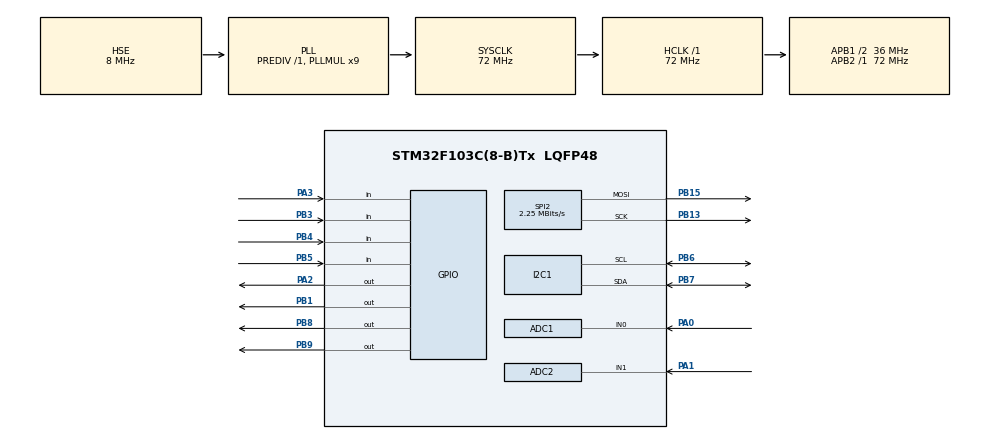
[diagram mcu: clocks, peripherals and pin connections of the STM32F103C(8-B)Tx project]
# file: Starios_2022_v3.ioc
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ADC1.Channel-0\#ChannelRegularConversion=ADC_CHANNEL_0
ADC1.ContinuousConvMode=ENABLE
ADC1.NbrOfConversionFlag=1
ADC1.Rank-0\#ChannelRegularConversion=1
ADC1.SamplingTime-0\#ChannelRegularConversion=ADC_SAMPLETIME_1CYCLE_5
ADC1.master=1
ADC2.Channel-0\#ChannelRegularConversion=ADC_CHANNEL_1
ADC2.ContinuousConvMode=ENABLE
ADC2.NbrOfConversionFlag=1
ADC2.Rank-0\#ChannelRegularConversion=1
ADC2.SamplingTime-0\#ChannelRegularConversion=ADC_SAMPLETIME_1CYCLE_5
Dma.I2C1_TX.0.Direction=DMA_MEMORY_TO_PERIPH
Dma.I2C1_TX.0.Instance=DMA1_Channel6
Dma.I2C1_TX.0.MemDataAlignment=DMA_MDATAALIGN_BYTE
Dma.I2C1_TX.0.MemInc=DMA_MINC_ENABLE
Dma.I2C1_TX.0.Mode=DMA_NORMAL
Dma.I2C1_TX.0.PeriphDataAlignment=DMA_PDATAALIGN_BYTE
Dma.I2C1_TX.0.PeriphInc=DMA_PINC_DISABLE
Dma.I2C1_TX.0.Priority=DMA_PRIORITY_LOW
Dma.Request0=I2C1_TX
Dma.Request1=SPI2_TX
Dma.SPI2_TX.1.Direction=DMA_MEMORY_TO_PERIPH
Dma.SPI2_TX.1.Instance=DMA1_Channel5
Dma.SPI2_TX.1.MemDataAlignment=DMA_MDATAALIGN_BYTE
Dma.SPI2_TX.1.MemInc=DMA_MINC_ENABLE
Dma.SPI2_TX.1.Mode=DMA_NORMAL
Dma.SPI2_TX.1.PeriphDataAlignment=DMA_PDATAALIGN_BYTE
Dma.SPI2_TX.1.PeriphInc=DMA_PINC_DISABLE
Dma.SPI2_TX.1.Priority=DMA_PRIORITY_LOW
I2C1.I2C_Mode=I2C_Fast
Mcu.Family=STM32F1
Mcu.Name=STM32F103C(8-B)Tx
Mcu.Package=LQFP48
NVIC.DMA1_Channel5_IRQn=true\:0\:0\:false\:false\:true\:false\:true\:true
NVIC.DMA1_Channel6_IRQn=true\:0\:0\:false\:false\:true\:false\:true\:true
NVIC.I2C1_EV_IRQn=true\:0\:0\:false\:false\:true\:true\:true\:true
NVIC.PriorityGroup=NVIC_PRIORITYGROUP_4
NVIC.TIM3_IRQn=true\:2\:0\:true\:false\:true\:true\:true\:true
PA0-WKUP.Signal=ADCx_IN0
PA1.Signal=ADCx_IN1
PA13.Mode=Serial_Wire
PA13.Signal=SYS_JTMS-SWDIO
PA14.Mode=Serial_Wire
PA14.Signal=SYS_JTCK-SWCLK
PA2.Signal=GPIO_Output
PA3.Signal=GPIO_Input
PB1.PinState=GPIO_PIN_SET
PB1.Signal=GPIO_Output
PB13.Mode=TX_Only_Simplex_Unidirect_Master
PB13.Signal=SPI2_SCK
PB15.Mode=TX_Only_Simplex_Unidirect_Master
PB15.Signal=SPI2_MOSI
PB3.Signal=GPIO_Input
PB4.Signal=GPIO_Input
PB5.GPIO_PuPd=GPIO_PULLUP
PB5.Signal=GPIO_Input
PB6.Mode=I2C
PB6.Signal=I2C1_SCL
PB7.Mode=I2C
PB7.Signal=I2C1_SDA
PB8.GPIO_PuPd=GPIO_PULLDOWN
PB8.Signal=GPIO_Output
PB9.Signal=GPIO_Output
PD0-OSC_IN.Mode=HSE-External-Oscillator
PD0-OSC_IN.Signal=RCC_OSC_IN
PD1-OSC_OUT.Mode=HSE-External-Oscillator
PD1-OSC_OUT.Signal=RCC_OSC_OUT
ProjectManager.HeapSize=0x200
ProjectManager.StackSize=0x400
ProjectManager.TargetToolchain=STM32CubeIDE
RCC.ADCPresc=RCC_ADCPCLK2_DIV6
RCC.AHBFreq_Value=72000000
RCC.APB1CLKDivider=RCC_HCLK_DIV2
RCC.APB1Freq_Value=36000000
RCC.APB1TimFreq_Value=72000000
RCC.APB2Freq_Value=72000000
RCC.APB2TimFreq_Value=72000000
RCC.HCLKFreq_Value=72000000
RCC.PLLMUL=RCC_PLL_MUL9
RCC.PLLSourceVirtual=RCC_PLLSOURCE_HSE
RCC.SYSCLKFreq_VALUE=72000000
RCC.SYSCLKSource=RCC_SYSCLKSOURCE_PLLCLK
RCC.USBFreq_Value=48000000
RCC.USBPrescaler=RCC_USBCLKSOURCE_PLL_DIV1_5
SH.ADCx_IN0.0=ADC1_IN0,IN0
SH.ADCx_IN1.0=ADC2_IN1,IN1
SPI2.BaudRatePrescaler=SPI_BAUDRATEPRESCALER_16
SPI2.CLKPhase=SPI_PHASE_2EDGE
SPI2.CalculateBaudRate=2.25 MBits/s
SPI2.Direction=SPI_DIRECTION_2LINES
SPI2.Mode=SPI_MODE_MASTER
SPI2.VirtualType=VM_MASTER
TIM3.Period=1799
VP_TIM3_VS_ClockSourceINT.Mode=Internal
board=custom

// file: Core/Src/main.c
/* USER CODE BEGIN Header */
/**
  ******************************************************************************
  * @file           : main.c
  * @brief          : Main program body
  * 12AUG2022		Matthew Zemlick
  ******************************************************************************
  * @attention
  *
  * Copyright (c) 2022 STMicroelectronics.
  * All rights reserved.
  *
  * This software is licensed under terms that can be found in the LICENSE file
  * in the root directory of this software component.
  * If no LICENSE file comes with this software, it is provided AS-IS.
  *
  ******************************************************************************
  */
/* USER CODE END Header */
#include "main.h"
#include "adc.h"
#include "dma.h"
#include "i2c.h"
#include "spi.h"
#include "tim.h"
#include "gpio.h"

/* USER CODE BEGIN Includes */
#include "stdlib.h"
#include "string.h"
#include "math.h"

#include "bittable.h"
#include "Chartable.h"
#include "matrixLayout.h"

#include "ssd1306.h"
#include "fonts.h"
#include "bitmap.h"
//#include "eeprom.h"

//#include "usbd_cdc_if.h" //USB virtual Com Port
//sprintf("int x= %d",x);
//CDC_Transmit_FS((uint8_t*)USBbuffer, (uint16_t)strlen(USBbuffer));

/* USER CODE END Includes */

/* USER CODE BEGIN PD */
#define NUMLEDS 168 //number of leds 128 or 168 or 121 (168 has dummy columns)
#define EXPANDFACTOR 9 // 3 bytes to SPI for 1 byte of color. green or red or blue
#define SPILOWTIME 30 //(30 for rgb3535) this is calculated on spi clock speed. it needs to be 50us of spi 0 bytes
#define BMAX 11*4//11
#define BMED 6*4//6
#define BMIN 2*4

#define numCols 21
#define numRows 8
//#define RAND_MAX 32767

#define SIMULATE 0

//Leds are G,R,B
#define BLACK 0x000000
#define GREEN 0x0A0000
#define RED 0x000A00
#define BLUE 0x00000A

#define SAMPLE_FREQ 40000//must match TIM3 Freq
#define N	64 //64
#define PI	3.14159265
#define FFT_LIB_REV 0x14
#define FFT_FORWARD 0x01
#define FFT_REVERSE 0x00
#define FFT_WIN_TYP_RECTANGLE 0x00 /* rectangle (Box car) */
#define FFT_WIN_TYP_HAMMING 0x01 /* hamming */
#define FFT_WIN_TYP_HANN 0x02 /* hann */
#define FFT_WIN_TYP_TRIANGLE 0x03 /* triangle (Bartlett) */
#define FFT_WIN_TYP_NUTTALL 0x04 /* nuttall */
#define FFT_WIN_TYP_BLACKMAN 0x05 /* blackman */
#define FFT_WIN_TYP_BLACKMAN_NUTTALL 0x06 /* blackman nuttall */
#define FFT_WIN_TYP_BLACKMAN_HARRIS 0x07 /* blackman harris*/
#define FFT_WIN_TYP_FLT_TOP 0x08 /* flat top */
#define FFT_WIN_TYP_WELCH 0x09 /* welch */
#define twoPi 6.28318531
#define fourPi 12.56637061
#define sixPi 18.84955593

//magic numbers for audio stuff
#define CAL_OFFSET 70 //this may want to be found and stored during a Cal phase. (its the ADC offset for any error on the 1.65V op-amp biasing)
#define HOFFSET_SCALER 4 //this means max and min will at minimum be 2*HOFFSET_SCALER apart
#define USEDBINS 16
#define SENSERATE_H 300
#define SENSERATE_L 100
/* USER CODE END PD */

void SystemClock_Config(void);
/* USER CODE BEGIN PFP */
  void setPixelColor(int,uint32_t);
  uint32_t getPixelColor(int);
  void show(void);
  void getrand(int);
  long map(long, long, long, long, long);
  int32_t constrain(int32_t,int32_t,int32_t);
  void HorizShiftR(void);
  void HorizShiftL(void);
  void rotateCCW(uint32_t);
  void sine1 (uint32_t);
  void nBalls (void);
  void nGrid (void);
  void splash(void);
  uint32_t Color(uint8_t,uint8_t,uint8_t);
  void BlankScreen(uint32_t);
  void printCharWithShiftL(char, int);
  void printStringWithShiftL(char*, int);
  int randomNum(int, int);

  void getMAG();
  void graphMAG(void);
  int16_t read_adc (void);
  uint16_t read_bat_adc(void);
  void ComputeFFT(double* , double* , uint16_t , uint8_t , uint8_t);
  void ComplexToMagnitude(double* , double* , uint16_t);
  uint8_t Exponent(uint16_t);
  void Swap(double* , double*);
  void Windowing(double* , uint16_t , uint8_t , uint8_t);
  double sq(double);

  void adjustVals(void);//dumb name
  uint16_t audioMap(int32_t x, int32_t in_min, int32_t in_max, int32_t out_min, int32_t out_max);

  int checkbuttons(void);
  int checkUSBConnected(void);
  void USBdataEnable(int);
/* USER CODE END PFP */

/* USER CODE BEGIN 0 */
  uint8_t myData[(NUMLEDS*EXPANDFACTOR)+SPILOWTIME]; //holds all the expanded Pixel Color data + the 50uS of zero time (WS2812 reset)
  uint32_t Forecolor = 0x000800;
  uint8_t Brange = BMIN; //1,6,11  //set the brightness for each chanel in getrand();
  uint8_t green, red, blue; //used in getrand
  uint8_t mbuffer[3];   //used for scroll text

  uint32_t ArrayBuffer[8] = {0, 0, 0, 0, 0, 0, 0, 0}; //this can be local?
  int randSelect = 0;
  int cycles = 10;
  uint32_t waittime = 200;
  char myString[] = "H3llo "; //used to test USB virutal COM Port Transmit

  int n_count = 0; //indexes hgihwater count
  uint8_t n_done = 0; //flag to perform fft operations
  double REX[N]; //holds Real input and Realoutput (overwritten when windowing/computeFFT is performed
  double IMX[N]; //hold imaginary output
  double MAG[USEDBINS];//magnitude of a+bi vector
  double MAGmax[USEDBINS];
  double MAGmin[USEDBINS];
  double MAGavg[USEDBINS]; //used in SIMULATE
  #define F_WIDTH 8 //number of samples. bigger = smoother but more delay
  #define F_WIDTHF 8.0f //must match above define
  double MAGbuff[USEDBINS][F_WIDTH];
  double MAGbuffSum[F_WIDTH];
  uint8_t fCount = 0; //LowPass Filter Summing indexer

  //for displaying
  int32_t MAGI[USEDBINS];//magnitude of a+bi vector used for displaying
  int32_t MAGImin[USEDBINS];//magnitude of a+bi vector used for displaying
  int32_t MAGImax[USEDBINS];//magnitude of a+bi vector used for displaying

  //N= 256, SAMPLE RATE = 30kHz
  //#define FFT_RAW_MAX 150000.0 // this is found expirementally using the SIMULATE 1 and the max ADC value possible

  //N=64, SAMPLE RATE = 20kHz
  #define FFT_RAW_MAX 37000.0 // this is found expirementally using the SIMULATE 1 and the max ADC value possible
  double fft_Db_MAX = -20.0*log10(1.0/FFT_RAW_MAX);// = 103.52182518111363

  //const int tones[6] = {1, 1, 2, 2, 1 ,2}; //these are like pitches
  //const int tonedelay[6]={1,1,1,1,1,1}; //these are duration delays

  uint16_t batteryLevel = 0;
  volatile uint8_t updateFlag = 0;
  uint32_t senseCounterH = 0;
  uint32_t senseCounterL = 0;

  //EEPROM stuff
  /* Virtual address defined by the user: 0xFFFF value is prohibited */
  //uint16_t VirtAddVarTab[NB_OF_VAR] = {0x5555, 0x6666, 0x7777};
  //uint16_t VarDataTab[NB_OF_VAR] = {0, 0, 0};
  //uint16_t VarValue = 0;
  #if SIMULATE
  double signalFrequency = 1; //FFT testing using simulated sinwave
  #endif

  //PB1 CLK / (Prescaler*Count) = Freq
  //72E6/((P+1)*(COUNT+1)) = ISR rateHz
  void HAL_TIM_PeriodElapsedCallback(TIM_HandleTypeDef *htim){
  	updateFlag=1;
  }
/* USER CODE END 0 */

int main(void)
{

  /* MCU Configuration--------------------------------------------------------*/

  /* Reset of all peripherals, Initializes the Flash interface and the Systick. */
  HAL_Init();

  /* Configure the system clock */
  SystemClock_Config();

  /* Initialize all configured peripherals */
  MX_GPIO_Init();
  MX_DMA_Init();
  MX_ADC1_Init();
  MX_ADC2_Init();
  MX_I2C1_Init();
  MX_SPI2_Init();
  MX_TIM3_Init();
  /* USER CODE BEGIN 2 */
  //SETUP
      //Power INIT
    HAL_Delay(500); //wait .5 sec before power on. prevents false positives
    HAL_GPIO_WritePin(GPIOB,GPIO_PIN_8, GPIO_PIN_SET);//SoftPower ON
    //HAL_GPIO_WritePin(GPIOB,GPIO_PIN_8, GPIO_PIN_RESET);//SoftPower OFF

    //REQUIRED to set all the end frame bytes to zero (50uS ws2812 reset)
    //use memset() below
    for (int x=(NUMLEDS*EXPANDFACTOR); x<(NUMLEDS*EXPANDFACTOR)+SPILOWTIME; x++) myData[x] = 0; //ToDo: replace with memset(). why not start at 0?
    for (int i=0; i<USEDBINS; i++){ //zeroing out a bunch of arrays
  #if SIMULATE
  	  MAGmax[i] = 0;
  	  MAGmin[i] = 32000;
  #else
  	  //MAGmax[i] = (int32_t)((fft_Db_MAX/2)+HOFFSET_SCALER);
  	  //MAGmin[i] = (int32_t)((fft_Db_MAX/2)-HOFFSET_SCALER);
  	  MAGmax[i] = 32.f; //think these should be played with. wait a few mins of SILENCE and breakpoint try 30.0f
  	  MAGmin[i] = 0.0f; //try 15.0f
  #endif
  	  MAGavg[i] = 0.f;
  	  for(int k=0; k< F_WIDTH; k++) MAGbuff[i][k] = 0.0f;
  	  MAGbuffSum[i] = 0;
    }

  //Oled Init and Boot
  while(!SSD1306_Init());  // initialize. blocking if OLED not detected
  SSD1306_DrawBitmap(0,0,Boot, 128, 32, 1); //boot splash screen
  SSD1306_UpdateScreen(); //display
  HAL_Delay(1000);
  SSD1306_Clear(); //clear oled display buffer
  SSD1306_UpdateScreen();

  HAL_ADC_Start(&hadc1); //starts the adc configured in continuous mode (cubeMX)
  HAL_ADC_Start(&hadc2); //start adc2 in continuous mode
  HAL_TIM_Base_Start_IT(&htim3); //start Timer 3. used for FFT sampling
  //HAL_Delay (500);

  //printStringWithShiftL(" STARIOS GEAR 2020   ", 10); //Send Lscrolling Text (send car array)
  BlankScreen(BLACK);
  /* USER CODE END 2 */

  /* Infinite loop */
  while (1)
  {

    /* USER CODE BEGIN 3 */

		if(updateFlag==1){ //30kHz Timer
			updateFlag = 0;
			if (!n_done){ //I need N ADC Samples
	#if SIMULATE
			//FFT testing using simulated sinwave
			const double samplingFrequency = SAMPLE_FREQ;
			const double amplitude = 4095; //4095 would be
			double cycles = (((N-1) * signalFrequency) / samplingFrequency); //Number of signal cycles that the sampling will read
			REX[n_count] = ((amplitude * (sin((n_count * (twoPi * cycles)) / N))) / 2.0);/* Build data with positive and negative values*/
			IMX[n_count] = 0;
			//FFT testing using simulated sinwave
	#else
				REX[n_count] = (double) read_adc() - 2048 + CAL_OFFSET;//12bit ADC (just store this into the REX[i] array. no need to have the adc_value variable
				IMX[n_count] = 0;
				#endif
				n_count++;
				if (n_count >= N){
	#if SIMULATE
				  signalFrequency+=40;//FFT testing using simulated sinwave
				  if(signalFrequency>SAMPLE_FREQ/2) signalFrequency = 1; //FFT testing using simulated sinwave
	#endif
				n_done = 1;
				n_count = 0;
			  }
			}
	    }
		if(n_done==1){
			memset(IMX,0,N*sizeof(double)); //zero out complex part before FFT
			Windowing(REX, N, FFT_WIN_TYP_HANN, FFT_FORWARD);		//HANN	//Apply Window the the ADC data
			ComputeFFT(REX, IMX, N, Exponent(N),FFT_FORWARD); 	//perform the exponent in setup to optimize
			getMAG(); // compute the magnitude of 16 FFT samples
			adjustVals(); //autoscaling. max sensing
			graphMAG(); //graph the complex magnitudes on the oled and RGB Display
			n_done = 0;
		}
  }
  /* USER CODE END 3 */
}

void SystemClock_Config(void)
{
  RCC_OscInitTypeDef RCC_OscInitStruct = {0};
  RCC_ClkInitTypeDef RCC_ClkInitStruct = {0};
  RCC_PeriphCLKInitTypeDef PeriphClkInit = {0};

  /** Initializes the RCC Oscillators according to the specified parameters
  * in the RCC_OscInitTypeDef structure.
  */
  RCC_OscInitStruct.OscillatorType = RCC_OSCILLATORTYPE_HSE;
  RCC_OscInitStruct.HSEState = RCC_HSE_ON;
  RCC_OscInitStruct.HSEPredivValue = RCC_HSE_PREDIV_DIV1;
  RCC_OscInitStruct.HSIState = RCC_HSI_ON;
  RCC_OscInitStruct.PLL.PLLState = RCC_PLL_ON;
  RCC_OscInitStruct.PLL.PLLSource = RCC_PLLSOURCE_HSE;
  RCC_OscInitStruct.PLL.PLLMUL = RCC_PLL_MUL9;
  if (HAL_RCC_OscConfig(&RCC_OscInitStruct) != HAL_OK)
  {
    Error_Handler();
  }

  /** Initializes the CPU, AHB and APB buses clocks
  */
  RCC_ClkInitStruct.ClockType = RCC_CLOCKTYPE_HCLK|RCC_CLOCKTYPE_SYSCLK
                              |RCC_CLOCKTYPE_PCLK1|RCC_CLOCKTYPE_PCLK2;
  RCC_ClkInitStruct.SYSCLKSource = RCC_SYSCLKSOURCE_PLLCLK;
  RCC_ClkInitStruct.AHBCLKDivider = RCC_SYSCLK_DIV1;
  RCC_ClkInitStruct.APB1CLKDivider = RCC_HCLK_DIV2;
  RCC_ClkInitStruct.APB2CLKDivider = RCC_HCLK_DIV1;

  if (HAL_RCC_ClockConfig(&RCC_ClkInitStruct, FLASH_LATENCY_2) != HAL_OK)
  {
    Error_Handler();
  }
  PeriphClkInit.PeriphClockSelection = RCC_PERIPHCLK_ADC;
  PeriphClkInit.AdcClockSelection = RCC_ADCPCLK2_DIV6;
  if (HAL_RCCEx_PeriphCLKConfig(&PeriphClkInit) != HAL_OK)
  {
    Error_Handler();
  }
}

/* USER CODE BEGIN 4 */
int checkbuttons(void){ // BTN3 = PB5 needs internal Pullups enabled
	int c = 0;
	c |= HAL_GPIO_ReadPin(GPIOB,GPIO_PIN_5)<<2 | HAL_GPIO_ReadPin(GPIOB,GPIO_PIN_4)<<1 | HAL_GPIO_ReadPin(GPIOB,GPIO_PIN_3);
	return c;
}

int checkUSBConnected(void){ // Check for USB is plugged in to power
	int c = 0;
	c=HAL_GPIO_ReadPin(GPIOA,GPIO_PIN_3);
	return c;
}

void USBdataEnable(int c){ //this function will enable USB serial device if VBUS is connected
	if(c){
	HAL_GPIO_WritePin(GPIOB,GPIO_PIN_9, GPIO_PIN_SET);//pull USB Data+ (DP) High
	}else{
		HAL_GPIO_WritePin(GPIOB,GPIO_PIN_9, GPIO_PIN_RESET);//pull USB Data+ (DP) LOW
	}
}

////////////////////////////////////////////////////////////////////////////////START FFt Lib functions
void ComputeFFT(double *vReal, double *vImag, uint16_t samples, uint8_t power, uint8_t dir)
{	// Computes in-place complex-to-complex FFT
	// Reverse bits
	uint16_t j = 0;
	for (uint16_t i = 0; i < (samples - 1); i++) {
		if (i < j) {
			Swap(&vReal[i], &vReal[j]);
			if(dir==FFT_REVERSE)
				Swap(&vImag[i], &vImag[j]);
		}
		uint16_t k = (samples >> 1);
		while (k <= j) {
			j -= k;
			k >>= 1;
		}
		j += k;
	}
	// Compute the FFT
	double c1 = -1.0;
	double c2 = 0.0;
	uint16_t l2 = 1;
	for (uint8_t l = 0; (l < power); l++) {
		uint16_t l1 = l2;
		l2 <<= 1;
		double u1 = 1.0;
		double u2 = 0.0;
		for (j = 0; j < l1; j++) {
			 for (uint16_t i = j; i < samples; i += l2) {
					uint16_t i1 = i + l1;
					double t1 = u1 * vReal[i1] - u2 * vImag[i1];
					double t2 = u1 * vImag[i1] + u2 * vReal[i1];
					vReal[i1] = vReal[i] - t1;
					vImag[i1] = vImag[i] - t2;
					vReal[i] += t1;
					vImag[i] += t2;
			 }
			 double z = ((u1 * c1) - (u2 * c2));
			 u2 = ((u1 * c2) + (u2 * c1));
			 u1 = z;
		}
		c2 = sqrt((1.0 - c1) / 2.0);
		if (dir == FFT_FORWARD) {
			c2 = -c2;
		}
		c1 = sqrt((1.0 + c1) / 2.0);
	}
	// Scaling for reverse transform
	if (dir != FFT_FORWARD) {
		for (uint16_t i = 0; i < samples; i++) {
			 vReal[i] /= samples;
			 vImag[i] /= samples;
		}
	}
}

//not used
void ComplexToMagnitude(double *vReal, double *vImag, uint16_t samples){	// vM is half the size of vReal and vImag
	for (uint16_t i = 0; i < samples; i++) {
		vReal[i] = sqrt(sq(vReal[i]) + sq(vImag[i]));
	}
}

uint8_t Exponent(uint16_t value){
	// Calculates the base 2 logarithm of a value
	uint8_t result = 0;
	while (((value >> result) & 1) != 1) result++;
	return(result);
}

void Swap(double *x, double *y){
	double temp = *x;
	*x = *y;
	*y = temp;
}

//commented on unused Windowing types so save flash space
void Windowing(double *vData, uint16_t samples, uint8_t windowType, uint8_t dir)
{// Weighing factors are computed once before multiple use of FFT
// The weighing function is symetric; half the weighs are recorded
	double samplesMinusOne = (double)(samples - 1.0);
	for (uint16_t i = 0; i < (samples >> 1); i++) {
		double indexMinusOne = (double) i;
		double ratio = (indexMinusOne / samplesMinusOne);
		double weighingFactor = 1.0;
		// Compute and record weighting factor
		switch (windowType) {
//		case FFT_WIN_TYP_RECTANGLE: // rectangle (box car)
//			weighingFactor = 1.0;
//			break;
		case FFT_WIN_TYP_HAMMING: // hamming
			weighingFactor = 0.54 - (0.46 * cos(twoPi * ratio));
			break;
		case FFT_WIN_TYP_HANN: // hann
			//weighingFactor = 0.54 * (1.0 - cos(twoPi * ratio));
			weighingFactor = 0.54 * (1.0 - cos(twoPi * ratio));
			break;
//		case FFT_WIN_TYP_TRIANGLE: // triangle (Bartlett)
//			weighingFactor = 1.0 - ((2.0 * abs(indexMinusOne - (samplesMinusOne / 2.0))) / samplesMinusOne);
//			break;
//		case FFT_WIN_TYP_NUTTALL: // nuttall
//			weighingFactor = 0.355768 - (0.487396 * (cos(twoPi * ratio))) + (0.144232 * (cos(fourPi * ratio))) - (0.012604 * (cos(sixPi * ratio)));
//			break;
//		case FFT_WIN_TYP_BLACKMAN: // blackman
//			weighingFactor = 0.42323 - (0.49755 * (cos(twoPi * ratio))) + (0.07922 * (cos(fourPi * ratio)));
//			break;
//		case FFT_WIN_TYP_BLACKMAN_NUTTALL: // blackman nuttall
//			weighingFactor = 0.3635819 - (0.4891775 * (cos(twoPi * ratio))) + (0.1365995 * (cos(fourPi * ratio))) - (0.0106411 * (cos(sixPi * ratio)));
//			break;
//		case FFT_WIN_TYP_BLACKMAN_HARRIS: // blackman harris
//			weighingFactor = 0.35875 - (0.48829 * (cos(twoPi * ratio))) + (0.14128 * (cos(fourPi * ratio))) - (0.01168 * (cos(sixPi * ratio)));
//			break;
//		case FFT_WIN_TYP_FLT_TOP: // flat top
//			weighingFactor = 0.2810639 - (0.5208972 * cos(twoPi * ratio)) + (0.1980399 * cos(fourPi * ratio));
//			break;
//		case FFT_WIN_TYP_WELCH: // welch
//			weighingFactor = 1.0 - sq((indexMinusOne - samplesMinusOne / 2.0) / (samplesMinusOne / 2.0));
//			break;
		}
		if (dir == FFT_FORWARD) {
			vData[i] *= weighingFactor;
			vData[samples - (i + 1)] *= weighingFactor;
		}
		else {
			vData[i] /= weighingFactor;
			vData[samples - (i + 1)] /= weighingFactor;
		}
	}
}

double sq(double x){ //math squaring function
return 	x*x;
}

//added an offset of 1.68V on the ADC pin. this comes out to 2048 for a 12-bit ADC
//ToDo: this signed val and the offset should be done in the mainloop. this will allow the read_adc to be generalized. should return a uint16_t from the 12-bit adc
int16_t read_adc(){ //reads ADC0 into adcVAL (12-bit?)
    HAL_ADC_Start(&hadc1);
	HAL_ADC_PollForConversion(&hadc1, 100); //wait (blocking) for the conversion to complete ?
    //because HAL_ADC_Getvalue only returns 0 to 2^12-1; half of that is 2047.5. lets round it to 2048 (this is fine for a int16_t)
	int16_t adcVal = (int16_t)(HAL_ADC_GetValue(&hadc1) & (0xFFFF)); //make sure only the lower 16 bytes are stored.
    HAL_ADC_Stop(&hadc1);
	return adcVal;
}
////////////////////////////////////////////////////////////////////////////////END FFt Lib functions

//ToDo: remove this adc. just genrealize the read_adc() to accept a ADC_HandleTypeDef. can pass in adc1 or adc2
uint16_t read_bat_adc(){ //reads ADC0 into adcVAL (12-bit?)
  HAL_GPIO_WritePin(GPIOA,GPIO_PIN_2, GPIO_PIN_SET);//Battery Check Enabled
  HAL_Delay(10);
  //HAL_ADC_Start(&hadc2);
  uint16_t adcBatVal = HAL_ADC_GetValue(&hadc2);
 // HAL_ADC_Stop(&hadc2);
  HAL_GPIO_WritePin(GPIOA,GPIO_PIN_2, GPIO_PIN_RESET);//Battery Check Disabled
return adcBatVal;
}

//AAAAAAAAAAAAAAAAAAAAAAAAAAAAAAAAAAAAAAAAAAAAAAAAAAAAAAAAAAAAAAAAAAAAAAAAAAAAAAAAAAAAAAAAAAAAAAAAAAAAAAAAAAAAAAAAAAAAAAA Audio Adjustments
#if SIMULATE
void getMAG(){
	uint8_t indexOffset = 1; //the lowest used bin index REX[0] contains alot of DC
	for (uint32_t i = 0; i < USEDBINS; i++){
		uint32_t idx = (i*(N/32))+indexOffset; //used to make sure i am indexing the REX[] properly
		MAG[i] = (sqrt(sq(REX[idx]) + sq(IMX[idx]))); //Magnitude from Pythagoram of Real and Complex in dBs
	}
}
#else
void getMAG(){
	uint8_t indexOffset = 1; //the lowest used bin index
	double MaxTemp;
	uint32_t idx;
	for (uint32_t i = 0; i < USEDBINS; i++){
		idx = (i*(N/32))+indexOffset; //used to make sure i am indexing the REX[] properly
		//Todo: peak detection here?

		MaxTemp = sqrt(sq(REX[idx]) + sq(IMX[idx])); //Magnitude from Pythagoram of Real and Complex
		MAG[i] = (double) fft_Db_MAX + (20*log10((MaxTemp+1.0)/FFT_RAW_MAX)); //return positive DBs. this will be used
	}
}
#endif
////with N = 256, Only 128 Bins are usable
//void getMAG(){ //testing a multiple bin method. its basically using a half (right side only window)
//#define width 8
//#define ratio 1
//	uint8_t a=0;
//	uint8_t b=0;
////int msgfreqs[7] = {63, 160, 400, 1000, 2500, 6250, 16000};
////int msgfreqs[7] = {16.64, 26.17, 41.17, 64.76, 101.88, 160.25, 252.07, 396.51, 623.71, 981.10, 1543.27, 2427.56, 3818.55, 6006.57, 9448.34, 14862.24};
////int msgfreqsIDX[16];
//	uint8_t indexOffset = 2; //the lowest used bin index
//	for (uint32_t i = 0; i < USEDBINS; i++){
//		uint32_t idx = (i*(USEDBINS/2))+indexOffset; //used to make sure i am indexing the REX[] properly
//
//		MAG[i] = 0;
//		for(int k = 0; k<width; k++){ //trying to use 6 samples to spread out the freq response
//			if(k+idx<(N/2)-width){
//				a=1;
//				MAG[i] += (int32_t) ((sqrt(sq(REX[idx+k]) + sq(IMX[idx+k])))); //Magnitude from Pythagoram of Real and Complex
//			}else{
//				a=0;
//			}
//			if(k+idx>width){
//				b=1;
//				MAG[i] += (int32_t) ((sqrt(sq(REX[idx-k]) + sq(IMX[idx-k]))));
//			}else{
//				b=0;
//			}
//		}
//		MAG[i] /= width*(a+b);
//
//		//testing log function
//		//MAG[i] = (int32_t)(20*(log10(MAG[i]+10)-1));
//	}
//}

//thinking of making a correlating function. gaussian distribution 'window' e^-(x-n)^2 to the magnitudes.
//I could use desmos to get like 8 sample points. multiply, add them up, divide by n so I dont have to waste CPU on math.
//The idea is to 'widen' the each bin's bandwidth
//void getMAG(){
//	uint8_t indexOffset = 2; //the lowest used bin index
//	for (uint32_t i = 0; i < USEDBINS; i++){
//		uint32_t idx = (i*(USEDBINS/2))+indexOffset; //used to make sure i am indexing the REX[] properly
//		MAG[i] = (int32_t) (sqrt(sq(REX[idx]) + sq(IMX[idx]))); //Magnitude from Pythagoram of Real and Complex
//		//testing log function
//		//MAG[i] = (int32_t)(20*(log10(MAG[i]+10)-1));
//	}
//}
#if SIMULATE
void adjustVals(){ //get 16 FFT manitudes. each bin is 30kHz/N
	for (uint32_t i = 0; i < USEDBINS; i++){
		MAGavg[i] = (MAGavg[i] + MAG[i])/2; //store the avg
		if(MAG[i] > MAGmax[i]) MAGmax[i] = MAG[i]+1; //store the Max
		if(MAG[i] < MAGmin[i]) MAGmin[i] = MAG[i]-1; //store the Min

		if(MAGmin[i]<1){ //shitty code to make sure that MAGmin is above zero and MAG is 1 above the min
			MAGmin[i] = 0;
		}
		MAGI[i] = (int32_t) MAG[i]; //store the integer for display
		MAGImin[i] = (int32_t) MAGmin[i]; //store the integer for display
		MAGImax[i] = (int32_t) MAGmax[i]; //store the integer for display
	}
}

#else
//ToDo: clean up these for-loops. sense counter must be outside a for-loop(maybe theres a way...)
//Todo: anyway to speed this funtion up?
void adjustVals(){ //main audio filtering work

	//////lowpass filtering//////
	for (uint32_t i = 0; i < USEDBINS; i++){
		MAGbuff[i][fCount] = MAG[i]; //store the current reading into the circular buffer
		for (uint32_t k = 0; k < F_WIDTH; k++){ //store the sums
			MAGbuffSum[i] += MAGbuff[i][k];
		}
		MAG[i] = MAGbuffSum[i]/F_WIDTHF;
		MAGbuffSum[i] = 0;
	}
	fCount++; //lowpass filter indexer
	if(fCount>=F_WIDTH) fCount=0;

	//////max and min storing//////
	for (uint32_t i = 0; i < USEDBINS; i++){
		if(MAG[i] > MAGmax[i]){
			  MAGmax[i] = MAG[i]; //store the Max
			  senseCounterH = 0;
		}
		if(MAG[i] < MAGmin[i]){
			  MAGmin[i] = MAG[i]; //store the Max
			 // senseCounterL = 0;
		}
	}

	////// max and min auto adjusting//////
		  senseCounterH++;
		  senseCounterL++;
		  if(senseCounterH>SENSERATE_H){ //about every 3 seconds
			  senseCounterH = 0;
			  for (uint32_t k = 0; k < USEDBINS; k++){
				  if(MAGmax[k]>MAGmin[k] + HOFFSET_SCALER) MAGmax[k]-=0.5f; //reduce upper limit
			  }
		  }
		  if(senseCounterL>SENSERATE_L){ //about every 1 seconds
			  senseCounterL = 0;
			  for (uint32_t k = 0; k < USEDBINS; k++){
				  if(MAGmin[k]<MAGmax[k] - HOFFSET_SCALER) MAGmin[k]+=0.5f; //increase lower limit
			  }
		  }

//not sure thus is needed
	//////make sure that MAG is within min and max as a double//////
		  for (uint32_t i = 0; i < USEDBINS; i++){
			  if(MAG[i]>=MAGmax[i]) MAG[i] = MAGmax[i]-1;
			  if(MAG[i]<=MAGmin[i]) MAG[i] = MAGmin[i]+1;
			  //MAG[i] = constrain(MAG[i],MAGmin[i]+1,MAGmax[i]-1); //instead?
		  }

	//////Typecasting to ready for digital displaying//////
		  for (uint32_t i = 0; i < USEDBINS; i++){
				MAGI[i] = (int32_t) MAG[i];
				MAGImin[i] = (int32_t) MAGmin[i];
				MAGImax[i] = (int32_t) MAGmax[i];
			}

	//////make sure mag is within min and max as a integer//////
		  for (uint32_t i = 0; i < USEDBINS; i++){
			  if(MAG[i]>=MAGmax[i]) MAG[i] = MAGmax[i]-1;
			  if(MAG[i]<=MAGmin[i]) MAG[i] = MAGmin[i]+1;
		  }
}
#endif

uint16_t audioMap(int32_t x, int32_t in_min, int32_t in_max, int32_t out_min, int32_t out_max) { //Map function spacial
  return (x - in_min) * (out_max - out_min) / (in_max - in_min) + out_min;
}

//int8_t rgbMap(uint32_t x, uint32_t in_min, uint32_t in_max, uint8_t out_min, uint8_t out_max) { //Map function color
//rDist = audioMap(c,red,0);	 // valS[x] proportional to nLength
//gDist = audioMap(c,green,0);	 // valS[x] proportional to nLength
//bDist = audioMap(c,blue,0);	 // valS[x] proportional to nLength
//  return (x - in_min) * (out_max - out_min) / (in_max - in_min) + out_min;
//}

//AAAAAAAAAAAAAAAAAAAAAAAAAAAAAAAAAAAAAAAAAAAAAAAAAAAAAAAAAAAAAAAAAAAAAAAAAAAAAAAAAAAAAAAAAAAAAAAAAAAAAAAAAAAAAAAAAAAAAAA Audio Adjustments

void graphMAG() { //draws FFT magnitudes MAG[0] to MAG[15] on OLED and RGB Matrix
	SSD1306_Clear();
#if SIMULATE
  	SSD1306_Puti(127-(7*5), 0, signalFrequency, 5);
#endif
  for(int k=0; k<USEDBINS; k++) SSD1306_DrawFilledRectangle(8*k, (uint16_t)((SSD1306_HEIGHT-1)-abs(audioMap(MAGI[k],MAGImin[k],MAGImax[k],0,SSD1306_HEIGHT-1))), 6, (uint16_t)(abs(audioMap(MAGI[k],MAGImin[k],MAGImax[k],0,SSD1306_HEIGHT-1))), SSD1306_COLOR_WHITE); //draw 16 bars abs(x[k]) on (0 to k/2)
  SSD1306_UpdateScreen(); //display //this may be calling the display too much
  int k = 5;
  BlankScreen(BLACK);
  for(int x=0; x<USEDBINS; x++){ //graph on rgb glasses. mirrored. only showing lower 8 freqs.
	  if(MAG[0] > MAGmax[0]*0.9) getrand(randSelect); //Careful, This is using the double. if the lowest used freq hits 75% of its make then change colors.
	  for(uint16_t y=0; y<audioMap(MAGI[x],MAGImin[x],MAGImax[x],0, numRows); y++){
		if(MAGI[x]>MAGImin[x]+HOFFSET_SCALER){//only display if greater than MAGmin + 4;
		  if(x<8){
			  setPixelColor(ColumnArray[x][y], Forecolor);   //I changed this to work with the 168 led display(21 cols) and 32 (64/2 usable) Bins
		  //setPixelColor(ColumnArray[numCols-1-x][y], Forecolor); //mirror but x has to count to USEDBINS/2
		  }else{
			  setPixelColor(ColumnArray[x+k][y], Forecolor);   //I changed this to work with the 168 led display(21 cols) and 32 (64/2 usable) Bins
		  }
		}

	  }
  }
  show();
}

void splash(){
BlankScreen(BLACK);
for(int c=0; c<15; c++){
getrand(1); //random red color
setPixelColor( rand() % (NUMLEDS - 0 + 1) + 0, Forecolor); //add a sprinkle                                 //make sprikle brighntess propotional to the freq amplitude
getrand(2); //random red color
setPixelColor( rand() % (NUMLEDS - 0 + 1) + 0, Forecolor); //add a sprinkle
getrand(3); //random red color
setPixelColor( rand() % (NUMLEDS - 0 + 1) + 0, Forecolor); //add a sprinkle
}
show();
}

void show(void){
HAL_SPI_Transmit_DMA(&hspi2, myData, (NUMLEDS*EXPANDFACTOR)+SPILOWTIME); //Begin SPI - SPI DMA data burst to LEDS
}

//ToDo: testing LUT vs Algorith to generate SPI data. I can save 1kb of flash text space by using a algorith instead of a LUT
//Todo: All the RGB SPI stuff should be in a class. (pixel timing type, number of pixels, brightness?, display buffer, funtions)
void setPixelColor(int pixelNum, uint32_t c){ //pass in a Pixel Number and 32bit Color and map to 9 bytes
	  uint8_t myGRB[3]; //create an array to hold the GRB bytes for one 23bit color
	  for(int x=0; x<3; x++) myGRB[x] = (c >> ((2-x) * 8)) & 0xFF; //extract the green,red,blue from the 32bit and write the 8bit values into myGRB array
	  for(int y=0; y<3; y++){ //this is to index the G,R,B bytes
	    for(int x=0; x<3; x++)  myData[(y*3)+(pixelNum*9)+x] = (bitExpand[myGRB[y]] >> ((2-x) * 8)) & 0xFF; //expand green, red, blue. from 1 byte into 3 bytes each (9 bytes total)
	  }
}

uint32_t getPixelColor(int c){ //receives a Led Number and returns its 32 bit value
	uint8_t myGRB[3];
	uint32_t myExpanedByte[3]; //
	uint8_t i=0; //used to index the bittable
	for(int x=0; x<3; x++) myExpanedByte[x] =  ((uint32_t)myData[(c*9)+(3*x)] << 16) | ((uint32_t)myData[(c*9)+(3*x)+1] <<  8) | (uint32_t) myData[(c*9)+(3*x)+2]; //extract values from myData Array
    for(int x=0; x<3; x++){
	  while(myExpanedByte[x] != bitExpand[i]) i++; //loop until match occurs
	  myGRB[x] = i; //store the index into 3 bytes sized values
	  i=0;
     }
	return ((uint32_t)myGRB[0] << 16) | ((uint32_t)myGRB[1] <<  8 | (uint32_t) myGRB[2]); //return a uint32_t value for the color stored on the led
}

void BlankScreen(uint32_t c) { //quickly set the entire screen one color
  for (int i = 0; i < NUMLEDS; i++) {
    setPixelColor(i, c);
  }
  show();
}

void rotateCCW(uint32_t theta){ //rotates all pixels theta rads counter clockwise //not quite working yet. something with math is wrong. test this in codeblocks?
	int myOffset = 5;
	int myX = 10;
	int myY = 5;
	//move to origin: x-
	for(float i=0; i<=2; i+=.5){
	int myXT = myOffset + (int) ((myX-myOffset)*cos(M_PI*i)-(myY-myOffset)*sin(M_PI*i));
	int myYT = myOffset + (int) ((myX-myOffset)*sin(M_PI*i)+(myY-myOffset)*cos(M_PI*i));
	BlankScreen(0);
	setPixelColor(ColumnArray[myX][myY], 0x0A0000); ///set a pixel green
	show();
	HAL_Delay(1000);
	setPixelColor(ColumnArray[myXT][myYT], 0x000A00);
	show();
	HAL_Delay(1000);
	myX = myXT;
	myY = myYT;
	}
}

//shift right function
void HorizShiftR () {   //Shift columns right 1 palce
  for ( int s = numCols-2; s >= 0; s--) { //read one hind. index COLUMNS
    for (int b = 0; b <= numRows-1; b++) { //read each Led value.  inded the ROWS
      ArrayBuffer[b] = getPixelColor(ColumnArray[s][b]); //store 5 int32s into bufferarray
      setPixelColor(ColumnArray[s + 1][b], ArrayBuffer[b]); //put those stored vals in place one to the right
    }
  }
  show();
}

//shift Left function
void HorizShiftL () {   //Shift columns right 1 palce
  for ( int s = 1; s <= numCols-1; s++) { //read one behind left
    for (int b = 0; b <= numRows-1; b++) { //read each Led value
      ArrayBuffer[b] = getPixelColor(ColumnArray[s][b]); //store 5 int32s into bufferarray
      setPixelColor(ColumnArray[s - 1][b], ArrayBuffer[b]); //put those stored vals in place one to the left
    }
  }
  show();
}

void BlankColumn(int c) {    //wipes the coulmn 0 to clear out jjunk, to get ready for shifting
  for (int w = 0; w <= numRows-1; w++) {
   setPixelColor(ColumnArray[c][w], 0x000000);
  }
}

//Extract characters for Scrolling text
void printStringWithShiftL(char* s, int shift_speed) { //Add Color??
	while (*s != 0) {
		printCharWithShiftL(*s, shift_speed);
		s++;
	}
}

// Put extracted character on Display     // this works very well
void printCharWithShiftL(char c, int shift_speed) {
	enum {TEXTPOS = 1};
	if (c < 32) return; //error check for ascii values less than ASCII  < ' ' (space) = 32 >
	c -= 32; //align the char ascii with the CharTable
	memcpy(mbuffer, &CH[3 * c], 3); //CH + 3*c is same as &CH[3*c] //copy 3 items
	//mBuffer
	getrand(randSelect);
	for (int j = 0; j <= 2; j++) {
		uint8_t b = 0b00000001;
		for (int k = TEXTPOS; k < TEXTPOS+5; k++) {
			if (mbuffer[j]&b) setPixelColor(ColumnArray[numCols-1][(numRows-1)-k], Forecolor);
			b = b << 1;
		}
		show();
		HorizShiftL(); //shift every column one column left (one space between letters)
		BlankColumn(numCols-1);
		HAL_Delay(shift_speed);
	}
	HorizShiftL(); // (one space after word)

}

uint32_t Color(uint8_t g,uint8_t r,uint8_t b){ //receives a G,R, amd B byte then Returns a 32bit int
return ((uint32_t)g << 16) | ((uint32_t)r <<  8 | (uint32_t) b);
}

long map(long x, long in_min, long in_max, long out_min, long out_max) { //Map function
  return (x - in_min) * (out_max - out_min) / (in_max - in_min) + out_min;
}

int32_t constrain(int32_t x, int32_t min, int32_t max){
	if(x < min) return min;
	if(x > max) return max;
	return x;
}

int randomNum(int myLow, int myHigh){  //return random integer for low to high range
	return  (rand() % (myHigh - myLow + 1)) + myLow;
}

void sine1 (uint32_t delayTime) { //single wave  //Shift columns right 1 palce
  for (int i = 0; i < numRows; i++) { //number here determins "density"
			BlankColumn(0);
			setPixelColor(ColumnArray[0][i], Forecolor);
			HorizShiftR();
			HAL_Delay(delayTime);
  }
  for (int i = 0; i < numRows; i++) { //number here determins "density"
			BlankColumn(0);
			setPixelColor(ColumnArray[0][(numRows-1) - i], Forecolor);
			HorizShiftR();
			HAL_Delay(delayTime);
  }
}

//Todo: make this an object
void nGrid(){ //make a snake head pop upin a random spot and move it arround the screen randomly
	//BlankScreen(0);
	int numBalls = randomNum(4,7); //number of balls
	int Limitx = numCols-1; //width
	int Limity = numRows-1;//height
	int Headx[numBalls]; //head postion holder
	int Heady[numBalls]; //head postion holder
	int Dirx[numBalls]; //-1 or 1
	int Diry[numBalls]; //-1 or 1
	int Tailx[numBalls]; //tailx psotion. is not really 'seen'. exists to reduce "flickering"
	int Taily[numBalls]; //taily position
	int myGreen[numBalls];
	int myRed[numBalls];
	int myBlue[numBalls];
	for(int c=0; c<numBalls; c++){ //loop through all arrays to set intials
	  getrand(randSelect);
	  myGreen[c] = green; //n number if random colors
	  myRed[c] = red;
	  myBlue[c] = blue;
	  Headx[c] = randomNum(0,Limitx+1); //pick n number of random x start points
	  Heady[c] = randomNum(0,Limity+1); //pick n number of random y start points
	  if(randomNum(0,2)){
	  Dirx[c] = 1;//pow(-1,random(1,2));
	  Diry[c] = 1;//pow(-1,random(1,2));
	  }else{
	  Dirx[c] = -1;//pow(-1,random(1,2));
	  Diry[c] = -1;//pow(-1,random(1,2));
	  }
	}
    for(int i=0; i<=cycles; i++){
		 //checkbtn3();
		  for(int c=0; c<numBalls; c++){
			   if(Headx[c]==0) Dirx[c]=1;
			   if(Headx[c]==Limitx) Dirx[c]=-1;
			   if(Heady[c]==0) Diry[c]=1;
			   if(Heady[c]==Limity) Diry[c]=-1;

			  Tailx[c] = Headx[c];
			  Taily[c] = Heady[c];
			  if(c%2==0){
			  Headx[c]+=Dirx[c];
			  }else{
			  Heady[c]+=Diry[c];
			  }
			  setPixelColor(ColumnArray[Headx[c]][Heady[c]],Color(myGreen[c]/(numBalls-c),myRed[c]/(numBalls-c),myBlue[c]/(numBalls-c))); //set the pixel
			  setPixelColor(ColumnArray[Tailx[c]][Taily[c]],0); //clear the pixel (causing flashing?
		}
		    show();
		 	HAL_Delay(waittime);
	}
	if(randomNum(0,1000)==500){
	printStringWithShiftL(" STARIOS", 40); //Send Lscrolling Text (send car array)
	}

}

//Todo: make this an object
void nBalls(){ //make a snake head pop upin a random spot and move it around the screen randomly
	//rand usage: int myRandomnumber = (rand() % (MAX - MIN + 1)) + MIN;
#define MAXBALLS 20
#define MINBALLS 8
	int numBalls = (rand() % (MAXBALLS - MINBALLS + 1)) + MINBALLS; //number of balls
	//int Limitx = (numCols-1); //width
	//int Limity = (numRows-1);//height
	int Headx[numBalls]; //head potion holder
	int Heady[numBalls]; //head postion holder
	int Dirx[numBalls]; //-1 or 1
	int Diry[numBalls]; //-1 or 1
	int Tailx[numBalls]; //tailx position. is not really 'seen'. exists to reduce "flickering"
	int Taily[numBalls]; //taily position
	int myGreen[numBalls];
	int myRed[numBalls];
	int myBlue[numBalls];
	for(int c=0; c<numBalls; c++){ //loop through all arrays to set intials
	  getrand(randSelect);
	  myGreen[c] = green; //n number if random colors
	  myRed[c] = red;
	  myBlue[c] = blue;
	  Headx[c] = (rand() % ((numCols-1) - 0 + 1)) + 0; //pick n number of random x start points //could be replaced using my randomNum function
	  Heady[c] = (rand() % ((numRows-1) - 0 + 1)) + 0; //pick n number of random y start points
	  Dirx[c] = 1;//pow(-1,random(1,2));
	  Diry[c] = 1;//pow(-1,random(1,2));
	}
    for(int i=0; i<=cycles; i++){
		 //checkbtn3();
		  for(int c=0; c<numBalls; c++){
			  if(Headx[c]==0) Dirx[c]=1;
			  if(Headx[c]==(numCols-1)) Dirx[c]=-1;
			  if(Heady[c]==0) Diry[c]=1;
			  if(Heady[c]==(numRows-1)) Diry[c]=-1;

			  Tailx[c] = Headx[c];
			  Taily[c] = Heady[c];
			  Headx[c]+=Dirx[c];
			  Heady[c]+=Diry[c];
			  setPixelColor(ColumnArray[Headx[c]][Heady[c]],Color(myGreen[c],myRed[c],myBlue[c])); //set the pixel
			  setPixelColor(ColumnArray[Tailx[c]][Taily[c]],0); //clear the pixel (causing flashing?
		  }
		  show();
		  HAL_Delay(waittime);
		   if((rand() % (30 - 0 + 1)) + 0 == 15){ //get a random number after all the balls have been updated
			 for(int x=0; x<numBalls; x++){ //loop through each ball
			  getrand(randSelect);
			  myGreen[x] = green; //n number if random colors
			  myRed[x] = red;
			  myBlue[x] = blue;
			  if(Headx[x]<numCols-2 && Headx[x]>=2){
				 for(int z=0; z<numBalls; z++) setPixelColor(ColumnArray[Headx[x]][Heady[x]],0); //needed to clear the stuck balls
				 if((rand() % (2 - 0 + 1)) + 0){ //add a shift to keep things from repeating too much
					 Tailx[x] = Headx[x];
					 Headx[x]++;
				 }else{
					 Tailx[x] = Headx[x];
					 Headx[x]--;
				 }
			  }
			 }
		}
	}
	for(uint8_t k=0; k<16; k++){ //picked 5 times as random amount should be enough to get all to zero
	//instead of setting the color to 0, fade it to 0. need to get the rgb for each color in the array. int32 to 3 byte
	int decayRate = 4; //used to set the speed of the dimming effect
	for(uint8_t j=0; j<numBalls; j++){
	    myRed[j]-=decayRate;
		myGreen[j]-=decayRate;
		myBlue[j]-=decayRate;
		if(myRed[j]<decayRate)myRed[j]=0;
		if(myGreen[j]<decayRate)myGreen[j]=0;
		if(myBlue[j]<decayRate)myBlue[j]=0;
		setPixelColor(ColumnArray[Headx[j]][Heady[j]],Color(myRed[j],myGreen[j],myBlue[j])); //clear the pixels this way insteadof BlankScreen
		show();
		//HAL_Delay(1);
	 }

	}
	if(rand() % (10 - 0 + 1) + 0==5){
	getrand(randSelect);
	BlankScreen(Forecolor);
	}

}

void getrand(int c) { // trying to make it //the goal is to get a random forecolor that is not white, then find the opposite of
  //rand usage: int myRandomnumber = (rand() % (MAX - MIN + 1)) + MIN;
	//getrand requries 0,1,2,3, or specify what type of color to return
      switch ((rand() % (2 - 0 + 1)) + 0) { //0 to 3 //map(rand(),0,32767,0,2)      //could be replaced using my randomNum function
        case 0:                                 //multi
            green = (uint8_t) 2*((rand() % ((Brange+1) - (1) + 1)) + 0);
            red = (uint8_t) 2*((rand() % ((Brange+1) - (0) + 1)) + 0);
            blue = 0;
            if(green==0 && red==0) green = 1;
          break;

        case 1:
        	 green = (uint8_t) 2*((rand() % ((Brange+1) - (0) + 1)) + 0);
        	 blue = (uint8_t) 2*((rand() % ((Brange+1) - (1) + 1)) + 0);
        	 red = 0;
        	 if(green==0 && blue==0) blue = 1;
          break;

        case 2:
        	 blue = (uint8_t) 2*((rand() % ((Brange+1) - (0) + 1)) + 0);
        	 red = (uint8_t) 2*((rand() % ((Brange+1) - (1) + 1)) + 0);
        	 green = 0;
        	 if(blue==0 && red==0) red = 1;
          break;
      }

  Forecolor = ((uint32_t)green << 16) | ((uint32_t)red <<  8) | ((uint32_t)blue);
  //CDC_Transmit_FS(Forecolor, 4); //prints color value to USB virtual serial port

}
/* USER CODE END 4 */

void Error_Handler(void)
{
  __disable_irq();
  while (1)
  {
  }
}
